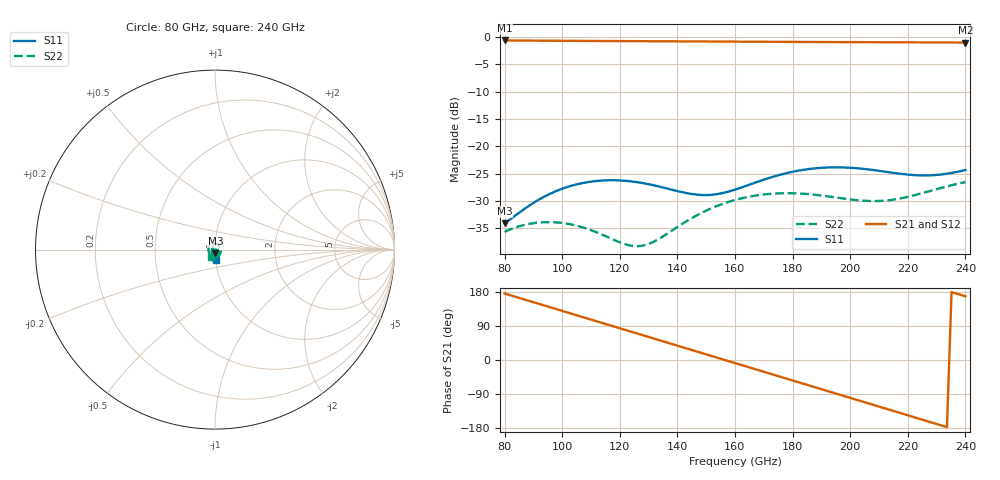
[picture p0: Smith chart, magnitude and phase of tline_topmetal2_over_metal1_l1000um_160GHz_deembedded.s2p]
! Created with skrf 2.0.1 (http://scikit-rf.org).
# GHz S DB R 50.0
!freq dBS11 angS11 dBS21 angS21 dBS12 angS12 dBS22 angS22
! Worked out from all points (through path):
!   101 points, 80 GHz to 240 GHz, reference 50 ohm
!   highest |S21| = -0.65 dB at 80 GHz (marker M1); lowest = -1.0 dB at 240 GHz (marker M2)
!   group delay of S21, straight-line fit = 6.38 ps
!   lowest |S11| = -34.1 dB at 80 GHz (marker M3), VSWR 1.04, Z = 50.2 - j1.97 ohm
!   |S11| at or under -10 dB: start of sweep to end of sweep
!   |S22| runs from -38.3 to -26.6 dB; largest |S21 - S12| = 1.1e-14
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80  -34.11 -83.6  -0.65 175.5  -0.65 175.5  -35.67 -95.3
86.4  -31.66 -75.3  -0.67 160.8  -0.67 160.8  -34.47 -111.2
92.8  -29.51 -75.9  -0.69 146.1  -0.69 146.1  -33.94 -130.0
100.8  -27.64 -82.2  -0.71 127.7  -0.71 127.7  -34.11 -156.7
107.2  -26.73 -88.8  -0.73 113.1  -0.73 113.1  -34.86 178.7
113.6  -26.29 -95.6  -0.75 98.4  -0.75 98.4  -36.13 149.7
120  -26.27 -101.9  -0.76 83.7  -0.76 83.7  -37.60 113.4
126.4  -26.62 -106.8  -0.78 69.0  -0.78 69.0  -38.30 68.1
134.4  -27.48 -109.6  -0.80 50.7  -0.80 50.7  -36.70 11.0
147.2  -28.89 -102.0  -0.83 21.3  -0.83 21.3  -32.53 -55.9
153.6  -28.79 -93.7  -0.84 6.6  -0.84 6.6  -30.97 -82.8
160  -27.96 -86.9  -0.86 -8.1  -0.86 -8.1  -29.84 -108.1
172.8  -25.66 -84.2  -0.89 -37.5  -0.89 -37.5  -28.70 -157.3
180.8  -24.60 -87.6  -0.91 -55.9  -0.91 -55.9  -28.63 171.1
187.2  -24.09 -91.6  -0.93 -70.5  -0.93 -70.5  -28.86 144.5
193.6  -23.88 -95.7  -0.94 -85.2  -0.94 -85.2  -29.28 115.9
200  -23.95 -99.3  -0.95 -99.9  -0.95 -99.9  -29.74 84.9
206.4  -24.26 -101.6  -0.97 -114.6  -0.97 -114.6  -30.03 51.3
214.4  -24.84 -101.7  -0.98 -133.0  -0.98 -133.0  -29.83 7.3
227.2  -25.35 -94.4  -1.00 -162.5  -1.00 -162.5  -28.28 -59.2
233.6  -25.03 -89.5  -1.01 -177.2  -1.01 -177.2  -27.36 -89.1
240  -24.37 -86.0  -1.03 168.1  -1.03 168.1  -26.57 -117.1
